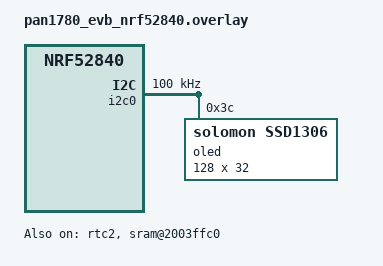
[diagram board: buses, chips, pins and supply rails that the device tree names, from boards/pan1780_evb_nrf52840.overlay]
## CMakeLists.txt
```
cmake_minimum_required(VERSION 3.20.0)

# Matter-modulen bygger libCHIP utan controller på Zephyr. Flaggan måste sättas innan
# find_package(Zephyr) eftersom modulens CMake läser MATTER_GN_ARGS när den läses in.
string(APPEND MATTER_GN_ARGS "--arg\nchip_build_controller\ntrue\n")

find_package(Zephyr HINTS $ENV{ZEPHYR_BASE})

project(nrfnode-matter-proto)

include(${ZEPHYR_CONNECTEDHOMEIP_MODULE_DIR}/config/nrfconnect/app/enable-gnu-std.cmake)
include(${ZEPHYR_NRF_MODULE_DIR}/samples/matter/common/cmake/source_common.cmake)
include(${ZEPHYR_NRF_MODULE_DIR}/samples/matter/common/cmake/data_model.cmake)
include(${ZEPHYR_NRF_MODULE_DIR}/samples/matter/common/cmake/zap_helpers.cmake)
ncs_get_zap_parent_dir(ZAP_PARENT_DIR)

target_include_directories(app PRIVATE
  src
  ../app/src
  ${ZAP_PARENT_DIR}
)

target_compile_options(app PRIVATE -Wno-deprecated-declarations)
target_compile_definitions(app PRIVATE NRFNODE_MATTER_UI_THREAD)

target_sources(app PRIVATE
  src/app_task.cpp
  src/main.cpp
  src/controller.cpp
  src/ble_scan.cpp
  src/ble_central.cpp
  ../app/src/main.cpp
  ../app/src/button_handler.cpp
  ../app/src/rtc_clock.cpp
  ../app/src/alarm.cpp
  ../app/src/storage.cpp
  ../app/src/devices.cpp
)

ncs_configure_data_model()
```

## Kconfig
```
mainmenu "nrfnode Matter controller prototype"

# Controllern ska kunna bilda ett eget Thread-nätverk, så den måste vara en FTD.
if OPENTHREAD

choice OPENTHREAD_NORDIC_LIBRARY_CONFIGURATION
	default OPENTHREAD_NORDIC_LIBRARY_FTD
endchoice

choice OPENTHREAD_DEVICE_TYPE
	default OPENTHREAD_FTD
endchoice

endif # OPENTHREAD

source "$(ZEPHYR_CONNECTEDHOMEIP_MODULE_DIR)/config/nrfconnect/chip-module/Kconfig.features"
source "$(ZEPHYR_CONNECTEDHOMEIP_MODULE_DIR)/config/nrfconnect/chip-module/Kconfig.defaults"
source "$(ZEPHYR_NRF_MODULE_DIR)/samples/matter/common/src/Kconfig"
source "Kconfig.zephyr"
```

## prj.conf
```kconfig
CONFIG_CHIP=y
CONFIG_CHIP_PROJECT_CONFIG="src/chip_project_config.h"
CONFIG_CHIP_DEVICE_PRODUCT_NAME="nrfnode"
CONFIG_CHIP_DEVICE_PRODUCT_ID=32768
CONFIG_STD_CPP17=y

# Zap-filen ateranvands fran Nordics template-sample (en minimal nod utan egna kluster).
CONFIG_NCS_SAMPLE_MATTER_ZAP_FILE_PATH="${APPLICATION_CONFIG_DIR}/../nrf/samples/matter/template/src/default_zap/template.zap"

CONFIG_CHIP_ENABLE_PAIRING_AUTOSTART=n
CONFIG_CHIP_NFC_ONBOARDING_PAYLOAD=n
CONFIG_CHIP_BLE_EXT_ADVERTISING=y
CONFIG_BT_DEVICE_NAME="nrfnode"

CONFIG_DK_LIBRARY=y
CONFIG_THREAD_NAME=y
CONFIG_MPU_STACK_GUARD=y
CONFIG_RESET_ON_FATAL_ERROR=n
CONFIG_USE_SEGGER_RTT=n

# Prototypen kor utan bootloader och utan fabriksdata (testcertifikat).
CONFIG_CHIP_ENABLE_READ_CLIENT=y
CONFIG_CHIP_FACTORY_DATA_NONE=y
CONFIG_CHIP_BOOTLOADER_NONE=y
CONFIG_CHIP_OTA_REQUESTOR=n

# RAM-trimning
CONFIG_OPENTHREAD_BLE_TCAT=n
CONFIG_CHIP_MAX_FABRICS=2
CONFIG_CHIP_MAX_ACTIVE_CASE_CLIENTS=2
CONFIG_CHIP_MAX_ACTIVE_DEVICES=2
CONFIG_CHIP_LIB_SHELL=n
CONFIG_NCS_SAMPLE_MATTER_TEST_SHELL=n
CONFIG_SHELL=n
CONFIG_BT_BUF_EVT_RX_COUNT=6

# Controllern genererar egna certifikat (SubjectKeyIdentifier anvander SHA-1)
CONFIG_PSA_WANT_ALG_SHA_1=y

# Controllerns sessioner och pooler allokeras pa Matters heap
CONFIG_CHIP_MALLOC_SYS_HEAP_SIZE=40960

CONFIG_BT_OBSERVER=y
CONFIG_BT_CENTRAL=y
CONFIG_BT_GATT_CLIENT=y
CONFIG_BT_GATT_DM=y
CONFIG_PSA_WANT_ALG_PBKDF2_HMAC=y
CONFIG_CHIP_TASK_STACK_SIZE=12288
CONFIG_CHIP_CRYPTO_USE_X509=y
CONFIG_MBEDTLS_PK_WRITE_C=y

CONFIG_OPENTHREAD_SOURCES=y
CONFIG_OPENTHREAD_FULL_LOGS=n
CONFIG_OPENTHREAD_DEBUG=n
CONFIG_LOG_MODE_IMMEDIATE=y
CONFIG_BT_RX_STACK_SIZE=3072
CONFIG_OPENTHREAD_SRP_SERVER=y
CONFIG_OPENTHREAD_DNSSD_SERVER=y
CONFIG_OPENTHREAD_ENABLE_SERVICE=y
CONFIG_OPENTHREAD_NETDATA_PUBLISHER=y

# OLED sensor UI and runtime clock
CONFIG_GPIO=y
CONFIG_I2C=y
CONFIG_DISPLAY=y
CONFIG_SSD1306=y
CONFIG_CHARACTER_FRAMEBUFFER=y
CONFIG_HEAP_MEM_POOL_SIZE=2048
CONFIG_COUNTER=y
CONFIG_EVENTS=y
CONFIG_RETAINED_MEM=y
CONFIG_CRC=y

# Latest sensor snapshot, alarm, UI settings, and Matter settings
CONFIG_FLASH=y
CONFIG_FLASH_MAP=y
CONFIG_FLASH_PAGE_LAYOUT=y
CONFIG_NVS=y
CONFIG_SETTINGS=y
CONFIG_SETTINGS_NVS=y

CONFIG_PRINTK=y
CONFIG_SERIAL=y
CONFIG_CONSOLE=y
CONFIG_UART_CONSOLE=y
CONFIG_LOG_BACKEND_UART=y
CONFIG_LOG_BACKEND_UART_AUTOSTART=y

# Flash/RAM-trimning
CONFIG_CHARACTER_FRAMEBUFFER_USE_DEFAULT_FONTS=n
CONFIG_MATTER_LOG_LEVEL_INF=y
CONFIG_CHIP_LOG_FILE_NAME=n
CONFIG_ASSERT=n
CONFIG_OPENTHREAD_PING_SENDER=n
CONFIG_OPENTHREAD_NETDIAG_CLIENT=n
CONFIG_OPENTHREAD_NETDIAG_VENDOR_INFO=n
CONFIG_OPENTHREAD_LINK_METRICS_SUBJECT=n
CONFIG_CHIP_PERSISTENT_SUBSCRIPTIONS=n
CONFIG_NCS_SAMPLE_MATTER_TEST_EVENT_TRIGGERS=n
CONFIG_CHIP_SYSTEM_PACKETBUFFER_POOL_SIZE=10
```

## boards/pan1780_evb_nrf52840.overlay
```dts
/* Hela flashen till applikationen (ingen bootloader i prototypen), 4 KB fabriksdata och 32 KB lagring. */
/delete-node/ &boot_partition;
/delete-node/ &slot0_partition;
/delete-node/ &slot1_partition;
/delete-node/ &scratch_partition;
/delete-node/ &storage_partition;

&flash0 {
	partitions {
		compatible = "fixed-partitions";
		#address-cells = <1>;
		#size-cells = <1>;

		slot0_partition: partition@0 {
			label = "image-0";
			reg = <0x00000000 DT_SIZE_K(988)>;
		};

		factory_data_partition: partition@f7000 {
			label = "factory-data";
			reg = <0x000f7000 DT_SIZE_K(4)>;
		};

		storage_partition: partition@f8000 {
			label = "storage";
			reg = <0x000f8000 DT_SIZE_K(32)>;
		};
	};
};

#include <zephyr/dt-bindings/i2c/i2c.h>

// OLED and retained clock RAM used by the shared UI.
&i2c0 {
	status = "okay";
	clock-frequency = <I2C_BITRATE_STANDARD>;

	oled: ssd1306@3c {
		compatible = "solomon,ssd1306";
		reg = <0x3c>;
		width = <128>;
		height = <32>;
		segment-offset = <0>;
		page-offset = <0>;
		display-offset = <0>;
		multiplex-ratio = <31>;
		segment-remap;
		com-invdir;
		com-sequential;
		prechargep = <0x22>;
	};
};

&sram0 {
	reg = <0x20000000 DT_SIZE_K(252)>;
};

/ {
	sram@2003ffc0 {
		compatible = "zephyr,memory-region", "mmio-sram";
		reg = <0x2003ffc0 0x40>;
		ranges = <0x0 0x2003ffc0 0x40>;
		zephyr,memory-region = "RetainedMem";
		status = "okay";
		#address-cells = <1>;
		#size-cells = <1>;

		retainedmem0: retainedmem {
			compatible = "zephyr,retained-ram";
			status = "okay";
			ranges;
			#address-cells = <1>;
			#size-cells = <1>;
		};
	};

	chosen {
		zephyr,display = &oled;
	};
};

&rtc2 {
	status = "okay";
};
```

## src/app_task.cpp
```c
#include "app_task.h"

#include "app/matter_init.h"
#include "app/task_executor.h"
#include "board/board.h"
#include "controller.h"
#include "lib/core/CHIPError.h"
#include "lib/support/CodeUtils.h"
#include "storage.h"

#include <zephyr/logging/log.h>
#include <zephyr/kernel.h>

LOG_MODULE_DECLARE(app, CONFIG_CHIP_APP_LOG_LEVEL);

using namespace ::chip;
using namespace ::chip::DeviceLayer;

namespace {

constexpr size_t kUiStackSize = 4096;
K_THREAD_STACK_DEFINE(sUiStack, kUiStackSize);
struct k_thread sUiThread;

void UiThread(void *, void *, void *)
{
	const int err = UiTaskMain();
	LOG_ERR("OLED UI exited with error %d", err);
}

} // namespace

CHIP_ERROR AppTask::Init()
{
	const int storageErr = StorageInit();
	if (storageErr) {
		LOG_ERR("Settings initialization failed (err %d)", storageErr);
		return CHIP_ERROR_INCORRECT_STATE;
	}

	Nrf::Matter::InitData initData;

	// Controllern initieras i Matter-tråden direkt efter att servern startat.
	initData.mPostServerInitClbk = ControllerInit;

	ReturnErrorOnFailure(Nrf::Matter::PrepareServer(initData));

	if (!Nrf::GetBoard().Init()) {
		LOG_ERR("User interface initialization failed.");
		return CHIP_ERROR_INCORRECT_STATE;
	}

	ReturnErrorOnFailure(Nrf::Matter::RegisterEventHandler(Nrf::Board::DefaultMatterEventHandler, 0));

	return Nrf::Matter::StartServer();
}

CHIP_ERROR AppTask::StartApp()
{
	ReturnErrorOnFailure(Init());
	k_thread_create(&sUiThread, sUiStack, K_THREAD_STACK_SIZEOF(sUiStack), UiThread,
			nullptr, nullptr, nullptr, K_PRIO_PREEMPT(8), 0, K_NO_WAIT);

	while (true) {
		Nrf::DispatchNextTask();
	}

	return CHIP_NO_ERROR;
}
```

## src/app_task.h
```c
#pragma once

#include <platform/CHIPDeviceLayer.h>

class AppTask {
public:
	static AppTask &Instance()
	{
		static AppTask sAppTask;
		return sAppTask;
	}

	CHIP_ERROR StartApp();

private:
	CHIP_ERROR Init();
};

int UiTaskMain();
```

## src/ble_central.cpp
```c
#include "ble_central.h"
#include "ble_scan.h"

#include <ble/Ble.h>
#include <platform/CHIPDeviceLayer.h>
#include <system/SystemPacketBuffer.h>

#include <bluetooth/gatt_dm.h>
#include <zephyr/bluetooth/bluetooth.h>
#include <zephyr/bluetooth/conn.h>
#include <zephyr/bluetooth/gatt.h>
#include <zephyr/logging/log.h>

#include <cstring>

LOG_MODULE_DECLARE(app, CONFIG_CHIP_APP_LOG_LEVEL);

using namespace chip;
using namespace chip::Ble;

namespace
{
#define UUID_C1 BT_UUID_128_ENCODE(0x18EE2EF5, 0x263D, 0x4559, 0x959F, 0x4F9C429F9D11)
#define UUID_C2 BT_UUID_128_ENCODE(0x18EE2EF5, 0x263D, 0x4559, 0x959F, 0x4F9C429F9D12)

struct bt_uuid_16 sSvcUuid = BT_UUID_INIT_16(0xFFF6);
struct bt_uuid_128 sC1Uuid = BT_UUID_INIT_128(UUID_C1);
struct bt_uuid_128 sC2Uuid = BT_UUID_INIT_128(UUID_C2);

class CentralDelegate : public BleConnectionDelegate
{
public:
	void NewConnection(BleLayer *layer, void *appState, const SetupDiscriminator &disc) override;
	void NewConnection(BleLayer *layer, void *appState, BLE_CONNECTION_OBJECT connObj) override {}
	CHIP_ERROR CancelConnection() override;
};

CentralDelegate sDelegate;
BleLayer *sLayer;
void *sAppState;
SetupDiscriminator sWanted;
bool sScanning;
bt_conn *sConn;
uint16_t sC1Handle, sC2Handle, sCccHandle;
bt_gatt_subscribe_params sSubParams;
bt_gatt_write_params sWriteParams;
System::PacketBufferHandle sWriteBuf;

// BLE callbacks run on small Zephyr work queues; Matter processing (PASE crypto) must run on the Matter thread.
void Post(void (*fn)(intptr_t), intptr_t arg)
{
	DeviceLayer::PlatformMgr().ScheduleWork(fn, arg);
}

void ReportErrorOnChipThread(intptr_t code)
{
	CHIP_ERROR err(static_cast<uint32_t>(code));
	LOG_ERR("BLE central error: %" CHIP_ERROR_FORMAT, err.Format());
	if (sDelegate.OnConnectionError) {
		sDelegate.OnConnectionError(sAppState, err);
	}
}

void ReportError(CHIP_ERROR err)
{
	Post(ReportErrorOnChipThread, static_cast<intptr_t>(err.AsInteger()));
}

void ConnectionCompleteOnChipThread(intptr_t)
{
	if (sDelegate.OnConnectionComplete && sConn) {
		sDelegate.OnConnectionComplete(sAppState, sConn);
	}
}

void DmCompleted(struct bt_gatt_dm *dm, void *)
{
	const bt_gatt_dm_attr *c1 = bt_gatt_dm_char_by_uuid(dm, &sC1Uuid.uuid);
	const bt_gatt_dm_attr *c2 = bt_gatt_dm_char_by_uuid(dm, &sC2Uuid.uuid);
	const bt_gatt_dm_attr *ccc = c2 ? bt_gatt_dm_desc_by_uuid(dm, c2, BT_UUID_GATT_CCC) : nullptr;
	if (!c1 || !c2 || !ccc) {
		bt_gatt_dm_data_release(dm);
		ReportError(CHIP_ERROR_INCORRECT_STATE);
		return;
	}
	sC1Handle = bt_gatt_dm_attr_chrc_val(c1)->value_handle;
	sC2Handle = bt_gatt_dm_attr_chrc_val(c2)->value_handle;
	sCccHandle = ccc->handle;
	bt_gatt_dm_data_release(dm);
	LOG_INF("GATT found: C1 %u C2 %u CCC %u", sC1Handle, sC2Handle, sCccHandle);
	Post(ConnectionCompleteOnChipThread, 0);
}

void DmNotFound(struct bt_conn *, void *)
{
	ReportError(CHIP_ERROR_NOT_FOUND);
}

void DmError(struct bt_conn *, int err, void *)
{
	ReportError(CHIP_ERROR_INTERNAL);
}

const bt_gatt_dm_cb sDmCb = {DmCompleted, DmNotFound, DmError};

void OnConnected(struct bt_conn *conn, uint8_t err)
{
	if (conn != sConn) {
		return;
	}
	if (err) {
		LOG_ERR("BLE central connect failed 0x%02x", err);
		bt_conn_unref(sConn);
		sConn = nullptr;
		ReportError(CHIP_ERROR_INTERNAL);
		return;
	}
	LOG_INF("BLE central connected");
	int rc = bt_gatt_dm_start(conn, &sSvcUuid.uuid, &sDmCb, nullptr);
	if (rc) {
		LOG_ERR("bt_gatt_dm_start %d", rc);
		ReportError(CHIP_ERROR_INTERNAL);
	}
}

void DisconnectedOnChipThread(intptr_t conn)
{
	if (sLayer) {
		sLayer->HandleConnectionError(reinterpret_cast<bt_conn *>(conn), BLE_ERROR_REMOTE_DEVICE_DISCONNECTED);
	}
}

void OnDisconnected(struct bt_conn *conn, uint8_t reason)
{
	if (conn != sConn) {
		return;
	}
	LOG_INF("BLE central disconnected 0x%02x", reason);
	bt_conn_unref(sConn);
	sConn = nullptr;
	Post(DisconnectedOnChipThread, reinterpret_cast<intptr_t>(conn));
}

BT_CONN_CB_DEFINE(sConnCb) = {.connected = OnConnected, .disconnected = OnDisconnected};

void OnMatterDevice(const bt_addr_le_t *addr, uint16_t disc)
{
	if (!sScanning || !sWanted.MatchesLongDiscriminator(disc)) {
		return;
	}
	sScanning = false;
	bt_le_scan_stop();
	LOG_INF("BLE central: connecting to discriminator %u", disc);
	int rc = bt_conn_le_create(addr, BT_CONN_LE_CREATE_CONN, BT_LE_CONN_PARAM_DEFAULT, &sConn);
	if (rc) {
		LOG_ERR("bt_conn_le_create %d", rc);
		ReportError(CHIP_ERROR_INTERNAL);
	}
}

void IndicationOnChipThread(intptr_t raw)
{
	auto buf = System::PacketBufferHandle::Adopt(reinterpret_cast<System::PacketBuffer *>(raw));
	if (sLayer && sConn) {
		sLayer->HandleIndicationReceived(sConn, &CHIP_BLE_SVC_ID, &CHIP_BLE_CHAR_2_UUID, std::move(buf));
	}
}

uint8_t OnIndication(struct bt_conn *conn, struct bt_gatt_subscribe_params *params, const void *data, uint16_t length)
{
	if (!data) {
		return BT_GATT_ITER_STOP;
	}
	auto buf = System::PacketBufferHandle::NewWithData(data, length);
	if (!buf.IsNull()) {
		Post(IndicationOnChipThread, reinterpret_cast<intptr_t>(std::move(buf).UnsafeRelease()));
	}
	return BT_GATT_ITER_CONTINUE;
}

void SubscribedOnChipThread(intptr_t arg)
{
	uint8_t err = arg & 0xFF;
	bool subscribed = arg & 0x100;
	if (!sLayer || !sConn) {
		return;
	}
	if (err) {
		LOG_ERR("Subscribe error %u", err);
		sLayer->HandleConnectionError(sConn, BLE_ERROR_GATT_SUBSCRIBE_FAILED);
	} else if (subscribed) {
		sLayer->HandleSubscribeComplete(sConn, &CHIP_BLE_SVC_ID, &CHIP_BLE_CHAR_2_UUID);
	} else {
		sLayer->HandleUnsubscribeComplete(sConn, &CHIP_BLE_SVC_ID, &CHIP_BLE_CHAR_2_UUID);
	}
}

void OnSubscribed(struct bt_conn *conn, uint8_t err, struct bt_gatt_subscribe_params *params)
{
	Post(SubscribedOnChipThread, err | (params->value ? 0x100 : 0));
}

void WrittenOnChipThread(intptr_t err)
{
	sWriteBuf = nullptr;
	if (!sLayer || !sConn) {
		return;
	}
	if (err) {
		LOG_ERR("Write error %d", static_cast<int>(err));
		sLayer->HandleConnectionError(sConn, BLE_ERROR_GATT_WRITE_FAILED);
		return;
	}
	sLayer->HandleWriteConfirmation(sConn, &CHIP_BLE_SVC_ID, &CHIP_BLE_CHAR_1_UUID);
}

void OnWritten(struct bt_conn *conn, uint8_t err, struct bt_gatt_write_params *params)
{
	Post(WrittenOnChipThread, err);
}

void CentralDelegate::NewConnection(BleLayer *layer, void *appState, const SetupDiscriminator &disc)
{
	sLayer = layer;
	sAppState = appState;
	sWanted = disc;
	sScanning = true;
	LOG_INF("BLE central: looking for discriminator %u%s", disc.IsShortDiscriminator() ? disc.GetShortValue() : disc.GetLongValue(),
		disc.IsShortDiscriminator() ? " (short)" : "");
	BleScanStart();
}

CHIP_ERROR CentralDelegate::CancelConnection()
{
	sScanning = false;
	if (sConn) {
		bt_conn_disconnect(sConn, BT_HCI_ERR_REMOTE_USER_TERM_CONN);
	}
	return CHIP_NO_ERROR;
}
} // namespace

void BleCentralOnMatterAdv(const bt_addr_le_t *addr, uint16_t discriminator)
{
	OnMatterDevice(addr, discriminator);
}

BleConnectionDelegate *ChipBleCentralConnectionDelegate(BleLayer *layer)
{
	sLayer = layer;
	return &sDelegate;
}

CHIP_ERROR ChipBleCentralSubscribe(bt_conn *conn, bool subscribe)
{
	if (subscribe) {
		memset(&sSubParams, 0, sizeof(sSubParams));
		sSubParams.notify = OnIndication;
		sSubParams.subscribe = OnSubscribed;
		sSubParams.value = BT_GATT_CCC_INDICATE;
		sSubParams.value_handle = sC2Handle;
		sSubParams.ccc_handle = sCccHandle;
		int rc = bt_gatt_subscribe(conn, &sSubParams);
		return rc ? CHIP_ERROR_INTERNAL : CHIP_NO_ERROR;
	}
	int rc = bt_gatt_unsubscribe(conn, &sSubParams);
	return rc ? CHIP_ERROR_INTERNAL : CHIP_NO_ERROR;
}

CHIP_ERROR ChipBleCentralWrite(bt_conn *conn, System::PacketBufferHandle pBuf)
{
	sWriteBuf = std::move(pBuf);
	memset(&sWriteParams, 0, sizeof(sWriteParams));
	sWriteParams.func = OnWritten;
	sWriteParams.handle = sC1Handle;
	sWriteParams.data = sWriteBuf->Start();
	sWriteParams.length = sWriteBuf->DataLength();
	int rc = bt_gatt_write(conn, &sWriteParams);
	return rc ? CHIP_ERROR_INTERNAL : CHIP_NO_ERROR;
}
```

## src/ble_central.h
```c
#pragma once

#include <zephyr/bluetooth/addr.h>
#include <cstdint>

void BleCentralOnMatterAdv(const bt_addr_le_t *addr, uint16_t discriminator);
```

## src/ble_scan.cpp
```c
#include "ble_scan.h"
#include "ble_central.h"

#include <zephyr/bluetooth/bluetooth.h>
#include <zephyr/bluetooth/uuid.h>
#include <zephyr/logging/log.h>

LOG_MODULE_DECLARE(app, CONFIG_CHIP_APP_LOG_LEVEL);

namespace
{
constexpr uint16_t kMatterServiceUuid = 0xFFF6;

bool ParseAd(struct bt_data *data, void *user_data)
{
	if (data->type != BT_DATA_SVC_DATA16 || data->data_len < 2 + 8) {
		return true;
	}
	uint16_t uuid = data->data[0] | (data->data[1] << 8);
	if (uuid != kMatterServiceUuid) {
		return true;
	}
	// Matter BLE service data: opcode(1), discriminator(2, 12 bit), VID(2), PID(2), flags(1)
	const uint8_t *d = &data->data[2];
	uint16_t disc = (d[1] | (d[2] << 8)) & 0x0FFF;
	uint16_t vid = d[3] | (d[4] << 8);
	uint16_t pid = d[5] | (d[6] << 8);
	static uint16_t sLastLogged;
	if (disc != sLastLogged) {
		sLastLogged = disc;
		LOG_INF("Matter BLE device: discriminator %u VID 0x%04x PID 0x%04x", disc, vid, pid);
	}
	*static_cast<int32_t *>(user_data) = disc;
	return false;
}

void OnScan(const bt_addr_le_t *addr, int8_t rssi, uint8_t type, struct net_buf_simple *ad)
{
	int32_t disc = -1;
	bt_data_parse(ad, ParseAd, &disc);
	if (disc >= 0) {
		BleCentralOnMatterAdv(addr, static_cast<uint16_t>(disc));
	}
}
} // namespace

int BleScanStart()
{
	struct bt_le_scan_param p = {
		.type = BT_LE_SCAN_TYPE_ACTIVE,
		.options = BT_LE_SCAN_OPT_NONE,
		.interval = BT_GAP_SCAN_FAST_INTERVAL,
		.window = BT_GAP_SCAN_FAST_WINDOW,
	};
	bt_le_scan_stop();
	int err = bt_le_scan_start(&p, OnScan);
	LOG_INF("BLE scan start: %d", err);
	return err;
}
```

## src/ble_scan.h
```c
#pragma once

int BleScanStart();
```

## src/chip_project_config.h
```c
#pragma once

// Controllern behöver bara en handfull samtidiga enheter (standard är 64, ca 94 KB RAM).
#define CHIP_CONFIG_CONTROLLER_MAX_ACTIVE_DEVICES 2
```

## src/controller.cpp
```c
#include "controller.h"
#include <platform/CHIPDeviceLayer.h>
#include <platform/ThreadStackManager.h>
#include <inet/EndPointStateOpenThread.h>
#include <app/server/Server.h>
#include <app/MessageDef/StatusIB.h>
#include <clusters/RelativeHumidityMeasurement/Attributes.h>
#include <clusters/TemperatureMeasurement/Attributes.h>
#include <data-model-providers/codegen/Instance.h>
#include <controller/CHIPCluster.h>
#include <controller/CHIPDeviceControllerFactory.h>
#include <controller/ExampleOperationalCredentialsIssuer.h>
#include <credentials/attestation_verifier/DeviceAttestationVerifier.h>
#include <credentials/attestation_verifier/DefaultDeviceAttestationVerifier.h>
#include <credentials/GroupDataProviderImpl.h>
#include <crypto/DefaultSessionKeystore.h>
#include <lib/support/CodeUtils.h>
#include <lib/support/ThreadOperationalDataset.h>
#include <lib/support/TestGroupData.h>
#include <lib/address_resolve/AddressResolve.h>
#include <lib/address_resolve/AddressResolve_DefaultImpl.h>
#include <lib/dnssd/Resolver.h>
#include <lib/core/CHIPCallback.h>
#include <openthread/dataset.h>
#include <openthread/dataset_ftd.h>
#include <openthread/ip6.h>
#include <openthread/srp_server.h>
#include <openthread/link.h>
#include <openthread/thread.h>
#include <openthread/thread_ftd.h>
#include <platform/OpenThread/GenericThreadStackManagerImpl_OpenThread.h>
#include <zephyr/logging/log.h>

#include "ble_scan.h"
#include "devices.h"
#include "rtc_clock.h"

LOG_MODULE_DECLARE(app, CONFIG_CHIP_APP_LOG_LEVEL);

using namespace ::chip;
using namespace ::chip::Controller;

namespace
{
DeviceCommissioner sCommissioner;
AutoCommissioner sAutoCommissioner;
ExampleOperationalCredentialsIssuer sOpCredsIssuer;
Crypto::DefaultSessionKeystore sSessionKeystore;
Crypto::P256Keypair sEphemeralKey;
uint8_t sNoc[kMaxCHIPDERCertLength];
uint8_t sIcac[kMaxCHIPDERCertLength];
uint8_t sRcac[kMaxCHIPDERCertLength];
} // namespace

namespace
{
void LockOt()
{
	DeviceLayer::ThreadStackMgr().LockThreadStack();
}
void UnlockOt()
{
	DeviceLayer::ThreadStackMgr().UnlockThreadStack();
}
Inet::EndPointStateOpenThread::OpenThreadEndpointInitParam sOtParams;

k_work_delayable sStartWork;
uint8_t sDatasetBuf[Thread::kSizeOperationalDataset];
size_t sDatasetLen;

// Prototyp: godkänner alla attestationsresultat tills IKEA:s PAA finns som förtroendeanker.
class IgnoreAttestation : public Credentials::DeviceAttestationDelegate {
public:
	Optional<uint16_t> FailSafeExpiryTimeoutSecs() const override { return NullOptional; }
	bool ShouldWaitAfterDeviceAttestation() override { return true; }
	void OnDeviceAttestationCompleted(DeviceCommissioner *c, DeviceProxy *d,
					  const Credentials::DeviceAttestationVerifier::AttestationDeviceInfo &,
					  Credentials::AttestationVerificationResult r) override
	{
		LOG_WRN("Attestation result %u ignored", static_cast<unsigned>(r));
		c->ContinueCommissioningAfterDeviceAttestation(d, Credentials::AttestationVerificationResult::kSuccess);
	}
} sIgnoreAttestation;

class SensorReader : public DevicePairingDelegate
{
public:
	SensorReader() :
		mOnConnected(&OnConnected, this),
		mOnConnectionFailure(&OnConnectionFailure, this)
	{
	}

	void ConnectOrPair(NodeId deviceId)
	{
		CHIP_ERROR err = sCommissioner.GetConnectedDevice(
			deviceId, &mOnConnected, &mOnConnectionFailure);
		if (err != CHIP_NO_ERROR) {
			LOG_WRN("Existing sensor connection unavailable: %" CHIP_ERROR_FORMAT, err.Format());
			StartPairing(deviceId);
		}
	}

	void OnCommissioningComplete(NodeId deviceId, CHIP_ERROR error) override
	{
		LOG_INF("Commissioning complete callback node=0x%llx err=%" CHIP_ERROR_FORMAT,
			static_cast<unsigned long long>(deviceId), error.Format());
		if (error != CHIP_NO_ERROR || mSubscriptionsStarted) {
			return;
		}
		ConnectOrPair(deviceId);
	}

private:
	void StartPairing(NodeId deviceId)
	{
		if (mPairingAttempted) {
			LOG_ERR("Sensor connection failed after commissioning fallback");
			return;
		}
		const char *code = DeviceCode(0);
		if (code[0] == '\0') {
			LOG_ERR("No pairing code saved in device slot 1");
			return;
		}
		mPairingAttempted = true;
		CommissioningParameters cp;
		cp.SetThreadOperationalDataset(ByteSpan(sDatasetBuf, sDatasetLen));
		cp.SetDeviceAttestationDelegate(&sIgnoreAttestation);
		CHIP_ERROR err = sCommissioner.PairDevice(deviceId, code, cp);
		LOG_INF("PairDevice fallback: %" CHIP_ERROR_FORMAT, err.Format());
	}

	static void OnConnected(void *context, Messaging::ExchangeManager &exchangeMgr,
				const SessionHandle &sessionHandle)
	{
		auto *self = static_cast<SensorReader *>(context);
		if (self->mSubscriptionsStarted) {
			return;
		}
		self->mSubscriptionsStarted = true;
		ClusterBase cluster(exchangeMgr, sessionHandle, 1);
		CHIP_ERROR err = cluster.SubscribeAttribute<
			app::Clusters::TemperatureMeasurement::Attributes::MeasuredValue::TypeInfo>(
				self, OnTemperature, OnSubscriptionFailure, 0, 900,
				OnSubscriptionEstablished);
		if (err != CHIP_NO_ERROR) {
			LOG_ERR("Temperature subscription request: %" CHIP_ERROR_FORMAT, err.Format());
		}
		ClusterBase humidityCluster(exchangeMgr, sessionHandle, 2);
		err = humidityCluster.SubscribeAttribute<
			app::Clusters::RelativeHumidityMeasurement::Attributes::MeasuredValue::TypeInfo>(
				self, OnHumidity, OnSubscriptionFailure, 0, 900,
				OnSubscriptionEstablished);
		if (err != CHIP_NO_ERROR) {
			LOG_ERR("Humidity subscription request: %" CHIP_ERROR_FORMAT, err.Format());
		}
	}

	static void OnConnectionFailure(void *context, const ScopedNodeId &peerId, CHIP_ERROR error)
	{
		LOG_ERR("Sensor CASE connection failed: %" CHIP_ERROR_FORMAT, error.Format());
		static_cast<SensorReader *>(context)->StartPairing(peerId.GetNodeId());
	}

	static void OnTemperature(
		void *, const app::DataModel::Nullable<int16_t> &value)
	{
		if (value.IsNull()) {
			LOG_WRN("Temperature attribute is null");
			return;
		}
		const uint32_t timestamp = RtcClockGet();
		SensorUpdateTemperature(value.Value(), timestamp);
		const int temperature = value.Value();
		const int magnitude = temperature < 0 ? -temperature : temperature;
		LOG_INF("SENSOR temperature=%s%d.%02dC timestamp=%u",
			temperature < 0 ? "-" : "", magnitude / 100, magnitude % 100,
			static_cast<unsigned>(timestamp));
	}

	static void OnHumidity(
		void *, const app::DataModel::Nullable<uint16_t> &value)
	{
		if (value.IsNull()) {
			LOG_WRN("Humidity attribute is null");
			return;
		}
		const uint32_t timestamp = RtcClockGet();
		SensorUpdateHumidity(value.Value(), timestamp);
		LOG_INF("SENSOR humidity=%u.%02u%% timestamp=%u",
			static_cast<unsigned>(value.Value() / 100),
			static_cast<unsigned>(value.Value() % 100),
			static_cast<unsigned>(timestamp));
	}

	static void OnSubscriptionEstablished(void *, SubscriptionId id)
	{
		LOG_INF("SENSOR subscription established id=%u",
			static_cast<unsigned>(id));
	}

	static void OnSubscriptionFailure(void *, CHIP_ERROR error)
	{
		if (error.IsIMStatus()) {
			const app::StatusIB status(error);
			LOG_ERR("Sensor subscription failed: IM status 0x%02x",
				static_cast<unsigned>(to_underlying(status.mStatus)));
		} else {
			LOG_ERR("Sensor subscription failed: %" CHIP_ERROR_FORMAT, error.Format());
		}
	}

	Callback::Callback<OnDeviceConnected> mOnConnected;
	Callback::Callback<OnDeviceConnectionFailure> mOnConnectionFailure;
	bool mSubscriptionsStarted = false;
	bool mPairingAttempted = false;
} sSensorReader;

CHIP_ERROR EnsureThreadDataset()
{
	otInstance *ot = DeviceLayer::ThreadStackMgrImpl().OTInstance();
	DeviceLayer::ThreadStackMgr().LockThreadStack();
	otOperationalDataset ds;
	otOperationalDatasetTlvs tlvs;
	if (otDatasetGetActive(ot, &ds) != OT_ERROR_NONE) {
		otDatasetCreateNewNetwork(ot, &ds);
		otDatasetConvertToTlvs(&ds, &tlvs);
		otDatasetSetActiveTlvs(ot, &tlvs);
	}
	otDatasetGetActiveTlvs(ot, &tlvs);
	if (!otIp6IsEnabled(ot)) {
		otIp6SetEnabled(ot, true);
	}
	if (otThreadGetDeviceRole(ot) == OT_DEVICE_ROLE_DISABLED) {
		otThreadSetEnabled(ot, true);
	}
	// No border router: this node is the SRP/DNS-SD server so that Matter operational discovery works.
	otSrpServerSetEnabled(ot, true);
	DeviceLayer::ThreadStackMgr().UnlockThreadStack();
	sDatasetLen = tlvs.mLength;
	memcpy(sDatasetBuf, tlvs.mTlvs, sDatasetLen);
	LOG_INF("Thread dataset %u bytes", static_cast<unsigned>(sDatasetLen));
	return CHIP_NO_ERROR;
}

k_work_delayable sInjectWork;
int sInjectCount;

// Devices that do not publish _matter._tcp until CommissioningComplete cannot be found through
// DNS-SD, so feed the resolver with the address from the device's SRP host registration.
void InjectResolveOnChipThread(intptr_t)
{
	otInstance *ot = DeviceLayer::ThreadStackMgrImpl().OTInstance();
	Inet::IPAddress addr;
	bool found = false;
	DeviceLayer::ThreadStackMgr().LockThreadStack();
	const otSrpServerHost *host = nullptr;
	while (!found && (host = otSrpServerGetNextHost(ot, host)) != nullptr)
	{
		if (otSrpServerHostIsDeleted(host))
			continue;
		uint8_t n = 0;
		const otIp6Address *a = otSrpServerHostGetAddresses(host, &n);
		for (uint8_t i = 0; i < n && !found; i++)
		{
			bool own = false;
			for (const otNetifAddress *u = otIp6GetUnicastAddresses(ot); u; u = u->mNext)
				own |= otIp6IsAddressEqual(&u->mAddress, &a[i]);
			if (!own)
			{
				addr = Inet::IPAddress::FromOtAddr(a[i]);
				found = true;
			}
		}
	}
	DeviceLayer::ThreadStackMgr().UnlockThreadStack();
	if (found)
	{
		Dnssd::ResolvedNodeData data;
		data.resolutionData.numIPs = 1;
		data.resolutionData.ipAddress[0] = addr;
		data.resolutionData.port = 5540;
		data.resolutionData.interfaceId = Inet::InterfaceId::Null();
		data.operationalData.peerId = PeerId(sCommissioner.GetCompressedFabricId(), 0x2001);
		static_cast<AddressResolve::Impl::Resolver &>(AddressResolve::Resolver::Instance())
			.OnOperationalNodeResolved(data);
	}
}

void InjectResolve(k_work *)
{
	DeviceLayer::PlatformMgr().ScheduleWork(InjectResolveOnChipThread, 0);
	if (++sInjectCount < 150)
		k_work_schedule(&sInjectWork, K_SECONDS(2));
}

void StartCommissioningOnChipThread(intptr_t)
{
	k_work_init_delayable(&sInjectWork, InjectResolve);
	k_work_schedule(&sInjectWork, K_SECONDS(10));
	sSensorReader.ConnectOrPair(0x2001);
}

void StartCommissioning(k_work *)
{
	DeviceLayer::PlatformMgr().ScheduleWork(StartCommissioningOnChipThread, 0);
}
} // namespace

CHIP_ERROR ControllerInit()
{
	EnsureThreadDataset();
	auto &server = Server::GetInstance();
	sOtParams.lockCb = LockOt;
	sOtParams.unlockCb = UnlockOt;
	sOtParams.openThreadInstancePtr = DeviceLayer::ThreadStackMgrImpl().OTInstance();
	FactoryInitParams factoryParams;
	SetupParams params;

	factoryParams.fabricIndependentStorage = &server.GetPersistentStorage();
	factoryParams.fabricTable = &server.GetFabricTable();
	factoryParams.sessionKeystore = &sSessionKeystore;
	factoryParams.groupDataProvider = Credentials::GetGroupDataProvider();
	factoryParams.enableServerInteractions = false;
	factoryParams.endpointNativeParams = &sOtParams;
	factoryParams.dataModelProvider = app::CodegenDataModelProviderInstance(&server.GetPersistentStorage());

	params.operationalCredentialsDelegate = &sOpCredsIssuer;
	params.controllerVendorId = VendorId::TestVendor1;
	ReturnErrorOnFailure(sOpCredsIssuer.Initialize(server.GetPersistentStorage()));

	// Testrot tills IKEA:s PAA lagts till som fÃ¶rtroendeanker.
	auto *verifier = Credentials::GetDefaultDACVerifier(Credentials::GetTestAttestationTrustStore(), nullptr);
	VerifyOrReturnError(verifier != nullptr, CHIP_ERROR_NO_MEMORY);
	Credentials::SetDeviceAttestationVerifier(verifier);

	MutableByteSpan noc(sNoc), icac(sIcac), rcac(sRcac);
	ReturnErrorOnFailure(sEphemeralKey.Initialize(Crypto::ECPKeyTarget::ECDSA));
	ReturnErrorOnFailure(sOpCredsIssuer.GenerateNOCChainAfterValidation(
		0x1000, 1, kUndefinedCATs, sEphemeralKey.Pubkey(), rcac, icac, noc));

	params.operationalKeypair = &sEphemeralKey;
	params.controllerRCAC = rcac;
	params.controllerICAC = icac;
	params.controllerNOC = noc;
	params.defaultCommissioner = &sAutoCommissioner;
	params.pairingDelegate = &sSensorReader;
	params.enableServerInteractions = true;

	auto &factory = DeviceControllerFactory::GetInstance();
	ReturnErrorOnFailure(factory.Init(factoryParams));
	ReturnErrorOnFailure(factory.SetupCommissioner(params, sCommissioner));

	LOG_INF("Commissioner ready, fabric index %u", static_cast<unsigned>(sCommissioner.GetFabricIndex()));
	{
		// The controller's own fabric needs the IPK (epoch key) in the group data provider for CASE.
		uint8_t cfid[sizeof(uint64_t)] = {0};
		MutableByteSpan cfidSpan(cfid);
		ReturnErrorOnFailure(sCommissioner.GetCompressedFabricIdBytes(cfidSpan));
		ReturnErrorOnFailure(Credentials::SetSingleIpkEpochKey(
			Credentials::GetGroupDataProvider(), sCommissioner.GetFabricIndex(),
			GroupTesting::DefaultIpkValue::GetDefaultIpk(), cfidSpan));
	}
	BleScanStart();
	EnsureThreadDataset();
	k_work_init_delayable(&sStartWork, StartCommissioning);
	// Thread-ledaren behöver ca 25 s för att bildas innan enheten ska ansluta.
	k_work_schedule(&sStartWork, K_SECONDS(40));
	return CHIP_NO_ERROR;
}

CHIP_ERROR ControllerCommission(const char *manual_code, uint64_t node_id)
{
	return sCommissioner.PairDevice(node_id, manual_code);
}
```

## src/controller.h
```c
#pragma once

#include <lib/core/CHIPError.h>

// Initierar Matter-controllern (egen fabric) i Matter-tråden. Anropas som PostServerInit-callback.
CHIP_ERROR ControllerInit();

// Commissionerar en enhet med manuell parningskod (11 siffror) som nod `node_id`.
CHIP_ERROR ControllerCommission(const char *manual_code, uint64_t node_id);
```
